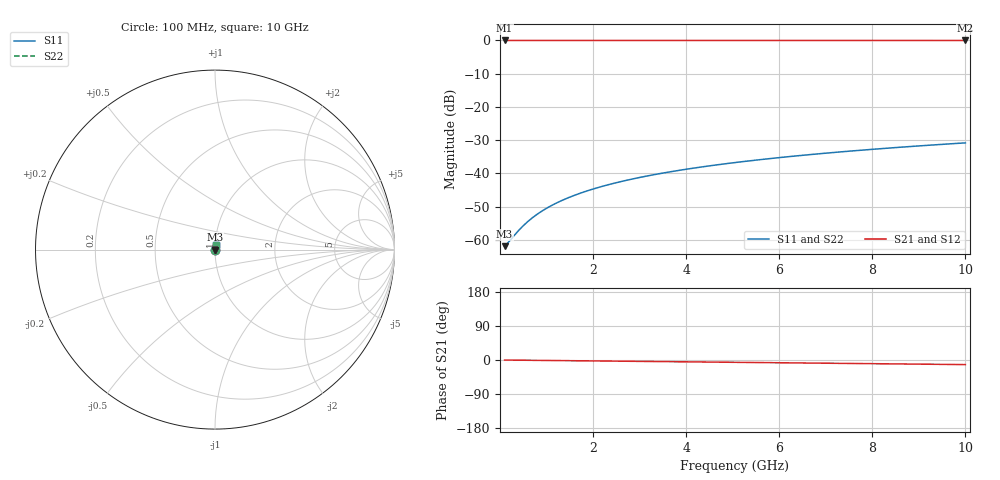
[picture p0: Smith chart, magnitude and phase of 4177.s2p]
# Hz S RI R 50.00
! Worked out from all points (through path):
!   100 points, 100 MHz to 10 GHz, reference 50 ohm
!   highest |S21| = -0.01 dB at 100 MHz (marker M1); lowest = 0.0 dB at 10 GHz (marker M2)
!   group delay of S21, straight-line fit = 3.37 ps
!   lowest |S11| = -61.9 dB at 100 MHz (marker M3), VSWR 1.00, Z = 50.1 + j0.0288 ohm
!   |S11| at or under -10 dB: start of sweep to end of sweep
!   |S22| runs from -61.9 to -30.8 dB; largest |S21 - S12| = 0
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1e8  0.000754 0.000288  0.9992 -0.0021  0.9992 -0.0021  0.000754 0.000288
2e8  0.00076 0.000576  0.9992 -0.0042  0.9992 -0.0042  0.00076 0.000576
4e8  0.000772 0.00115  0.9992 -0.00841  0.9992 -0.00841  0.000772 0.00115
5e8  0.00078 0.00144  0.9992 -0.0105  0.9992 -0.0105  0.00078 0.00144
6e8  0.000788 0.00173  0.9991 -0.0126  0.9991 -0.0126  0.000788 0.00173
7e8  0.000797 0.00201  0.9991 -0.0147  0.9991 -0.0147  0.000797 0.00201
8e8  0.000807 0.0023  0.9991 -0.0168  0.9991 -0.0168  0.000807 0.0023
1e9  0.000831 0.00288  0.999 -0.021  0.999 -0.021  0.000831 0.00288
1.2e9  0.000859 0.00345  0.9989 -0.0252  0.9989 -0.0252  0.000859 0.00345
1.5e9  0.00091 0.00431  0.9987 -0.0315  0.9987 -0.0315  0.00091 0.00431
1.8e9  0.000971 0.00517  0.9985 -0.0379  0.9985 -0.0379  0.000971 0.00517
2.1e9  0.00104 0.00603  0.9982 -0.0442  0.9982 -0.0442  0.00104 0.00603
2.5e9  0.00116 0.00717  0.9978 -0.0526  0.9978 -0.0526  0.00116 0.00717
2.9e9  0.00129 0.00831  0.9973 -0.061  0.9973 -0.061  0.00129 0.00831
3.4e9  0.00148 0.00974  0.9966 -0.0715  0.9966 -0.0715  0.00148 0.00974
4.2e9  0.00185 0.012  0.9952 -0.0884  0.9952 -0.0884  0.00185 0.012
5.1e9  0.00235 0.0145  0.9932 -0.1073  0.9932 -0.1073  0.00235 0.0145
5.9e9  0.00288 0.0168  0.9912 -0.1241  0.9912 -0.1241  0.00288 0.0168
6.7e9  0.00349 0.019  0.9889 -0.1409  0.9889 -0.1409  0.00349 0.019
7.5e9  0.00418 0.0212  0.9863 -0.1577  0.9863 -0.1577  0.00418 0.0212
8.4e9  0.00504 0.0237  0.983 -0.1766  0.983 -0.1766  0.00504 0.0237
1e10  0.00682 0.028  0.9763 -0.2101  0.9763 -0.2101  0.00682 0.028
